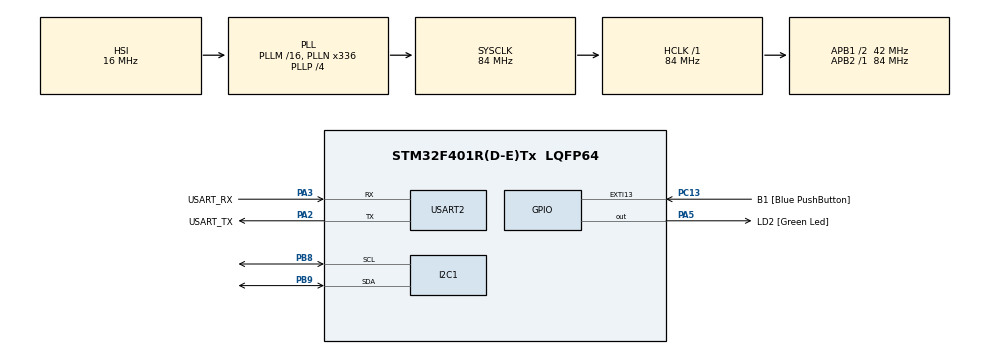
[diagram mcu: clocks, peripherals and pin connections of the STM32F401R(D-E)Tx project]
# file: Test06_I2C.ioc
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I2C1.I2C_Mode=I2C_Standard
Mcu.Family=STM32F4
Mcu.Name=STM32F401R(D-E)Tx
Mcu.Package=LQFP64
NVIC.I2C1_ER_IRQn=true\:0\:0\:false\:false\:true
NVIC.I2C1_EV_IRQn=true\:0\:0\:false\:false\:true
NVIC.PriorityGroup=NVIC_PRIORITYGROUP_0
PA13.GPIO_Label=TMS
PA13.Signal=SYS_JTMS-SWDIO
PA14.GPIO_Label=TCK
PA14.Signal=SYS_JTCK-SWCLK
PA2.GPIO_Label=USART_TX
PA2.GPIO_Mode=GPIO_MODE_AF_PP
PA2.GPIO_PuPd=GPIO_NOPULL
PA2.GPIO_Speed=GPIO_SPEED_FREQ_LOW
PA2.Mode=Asynchronous
PA2.Signal=USART2_TX
PA3.GPIO_Label=USART_RX
PA3.GPIO_Mode=GPIO_MODE_AF_PP
PA3.GPIO_PuPd=GPIO_NOPULL
PA3.GPIO_Speed=GPIO_SPEED_FREQ_LOW
PA3.Mode=Asynchronous
PA3.Signal=USART2_RX
PA5.GPIO_Label=LD2 [Green Led]
PA5.GPIO_Mode=GPIO_MODE_OUTPUT_PP
PA5.GPIO_PuPd=GPIO_NOPULL
PA5.GPIO_Speed=GPIO_SPEED_FREQ_LOW
PA5.Signal=GPIO_Output
PB3.GPIO_Label=SWO
PB3.Signal=SYS_JTDO-SWO
PB8.Mode=I2C
PB8.Signal=I2C1_SCL
PB9.Mode=I2C
PB9.Signal=I2C1_SDA
PC13-ANTI_TAMP.GPIO_Label=B1 [Blue PushButton]
PC13-ANTI_TAMP.GPIO_ModeDefaultEXTI=GPIO_MODE_IT_FALLING
PC13-ANTI_TAMP.GPIO_PuPd=GPIO_NOPULL
PC13-ANTI_TAMP.Signal=GPXTI13
PC14-OSC32_IN.Signal=RCC_OSC32_IN
PC15-OSC32_OUT.Signal=RCC_OSC32_OUT
PH0\ -\ OSC_IN.Signal=RCC_OSC_IN
PH1\ -\ OSC_OUT.Signal=RCC_OSC_OUT
ProjectManager.HeapSize=0x200
ProjectManager.StackSize=0x400
ProjectManager.TargetToolchain=Makefile
RCC.AHBFreq_Value=84000000
RCC.APB1CLKDivider=RCC_HCLK_DIV2
RCC.APB1Freq_Value=42000000
RCC.APB1TimFreq_Value=84000000
RCC.APB2Freq_Value=84000000
RCC.APB2TimFreq_Value=84000000
RCC.CortexFreq_Value=84000000
RCC.HCLKFreq_Value=84000000
RCC.HSE_VALUE=8000000
RCC.HSI_VALUE=16000000
RCC.LSE_VALUE=32768
RCC.PLLN=336
RCC.PLLP=RCC_PLLP_DIV4
RCC.PLLQ=7
RCC.SYSCLKFreq_VALUE=84000000
RCC.SYSCLKSource=RCC_SYSCLKSOURCE_PLLCLK
RCC.VCOOutputFreq_Value=336000000
USART2.VirtualMode=VM_ASYNC
board=NUCLEO-F401RE

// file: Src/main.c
/**
  ******************************************************************************
  * File Name          : main.c
  * Description        : Main program body
  ******************************************************************************
  ** This notice applies to any and all portions of this file
  * that are not between comment pairs USER CODE BEGIN and
  * USER CODE END. Other portions of this file, whether
  * inserted by the user or by software development tools
  * are owned by their respective copyright owners.
  *
  * COPYRIGHT(c) 2017 STMicroelectronics
  *
  * Redistribution and use in source and binary forms, with or without modification,
  * are permitted provided that the following conditions are met:
  *   1. Redistributions of source code must retain the above copyright notice,
  *      this list of conditions and the following disclaimer.
  *   2. Redistributions in binary form must reproduce the above copyright notice,
  *      this list of conditions and the following disclaimer in the documentation
  *      and/or other materials provided with the distribution.
  *   3. Neither the name of STMicroelectronics nor the names of its contributors
  *      may be used to endorse or promote products derived from this software
  *      without specific prior written permission.
  *
  * THIS SOFTWARE IS PROVIDED BY THE COPYRIGHT HOLDERS AND CONTRIBUTORS "AS IS"
  * AND ANY EXPRESS OR IMPLIED WARRANTIES, INCLUDING, BUT NOT LIMITED TO, THE
  * IMPLIED WARRANTIES OF MERCHANTABILITY AND FITNESS FOR A PARTICULAR PURPOSE ARE
  * DISCLAIMED. IN NO EVENT SHALL THE COPYRIGHT HOLDER OR CONTRIBUTORS BE LIABLE
  * FOR ANY DIRECT, INDIRECT, INCIDENTAL, SPECIAL, EXEMPLARY, OR CONSEQUENTIAL
  * DAMAGES (INCLUDING, BUT NOT LIMITED TO, PROCUREMENT OF SUBSTITUTE GOODS OR
  * SERVICES; LOSS OF USE, DATA, OR PROFITS; OR BUSINESS INTERRUPTION) HOWEVER
  * CAUSED AND ON ANY THEORY OF LIABILITY, WHETHER IN CONTRACT, STRICT LIABILITY,
  * OR TORT (INCLUDING NEGLIGENCE OR OTHERWISE) ARISING IN ANY WAY OUT OF THE USE
  * OF THIS SOFTWARE, EVEN IF ADVISED OF THE POSSIBILITY OF SUCH DAMAGE.
  *
  ******************************************************************************
  */
#include "main.h"
#include "stm32f4xx_hal.h"
#include "print.h"
#include "xprintf.h"

I2C_HandleTypeDef hi2c1;

UART_HandleTypeDef huart2;

/* USER CODE BEGIN PV */
/* Private variables ---------------------------------------------------------*/

/* USER CODE END PV */

void SystemClock_Config(void);
static void MX_GPIO_Init(void);
static void MX_I2C1_Init(void);
static void MX_USART2_UART_Init(void);

enum{
	WHO_AM_I=0x0f,
	CTRL1_XL=0x10,
	CTRL2_G=0x11,
	CTRL3_C=0x12,
	CTRL4_C=0x13,
	CTRL5_C=0x14,
	CTRL6_C=0x15,
	CTRL7_G=0x16,
	CTRL8_XL=0x17,
	CTRL9_XL=0x18,
	CTRL10_C=0x19,
	OUT_TEMP_L=0x20,
	OUT_TEMP_H=0x21,
	OUTX_L_G=0x22,
	OUTX_H_G=0x23,
	OUTY_L_G=0x24,
	OUTY_H_G=0x25,
	OUTZ_L_G=0x26,
	OUTZ_H_G=0x27,
	OUTX_L_XL=0x28,
	OUTX_H_XL=0x29,
	OUTY_L_XL=0x2A,
	OUTY_H_XL=0x2B,
	OUTZ_L_XL=0x2C,
	OUTZ_H_XL=0x2D
};
void USR_LSM6DSL_Set_Data(I2C_HandleTypeDef *hi2c,uint8_t add,uint8_t dat);
uint8_t USR_LSM6DSL_Get_Data(I2C_HandleTypeDef *hi2c,uint8_t add);
void USR_LSM6DSL_XL_Read_ALL(I2C_HandleTypeDef *hi2c,int16_t *dat);
void USR_LSM6DSL_GY_Read_ALL(I2C_HandleTypeDef *hi2c,int16_t *dat);
/* USER CODE BEGIN PFP */
/* Private function prototypes -----------------------------------------------*/
//if unuse semihosting, comment out "#define debug"
//#define debug
/* USER CODE END PFP */

void uart_putc_wrap(uint8_t c){
	uart_putc(&huart2,c);
}
int main(void)
{

  /* USER CODE BEGIN 1 */
	int i=0;
	uint8_t tmp=0;
	int16_t accdata[3]={0};
	int16_t gyrdata[3]={0};
	int16_t gyravg[3]={0};

	float angspdata[3]={0.0};

  /* USER CODE END 1 */

  /* MCU Configuration----------------------------------------------------------*/

  /* Reset of all peripherals, Initializes the Flash interface and the Systick. */
  HAL_Init();

  /* Configure the system clock */
  SystemClock_Config();

  /* USER CODE BEGIN SysInit */
	xdev_out(uart_putc_wrap);

  /* USER CODE END SysInit */

  /* Initialize all configured peripherals */
  MX_GPIO_Init();
  MX_I2C1_Init();
  MX_USART2_UART_Init();

  /* USER CODE BEGIN 2 */
//	xprintf("Hello,STM%d!\r\n",32);

	//LSM6DSL(ADD:0b1101011<<1)
//	HAL_I2C_Mem_Read(&hi2c1,0xD6,0x0f,I2C_MEMADD_SIZE_8BIT,&tmp,1,10);
	tmp=USR_LSM6DSL_Get_Data(&hi2c1,WHO_AM_I);
	USR_LSM6DSL_Set_Data(&hi2c1,CTRL1_XL,0b10000101);
	USR_LSM6DSL_Set_Data(&hi2c1,CTRL2_G,0b01100000);
	USR_LSM6DSL_Set_Data(&hi2c1,CTRL4_C,0b00000010);
	USR_LSM6DSL_Set_Data(&hi2c1,CTRL6_C,0b00000010);
	USR_LSM6DSL_Set_Data(&hi2c1,CTRL7_G,0b00000000);
	HAL_Delay(1000);

	for(i=0;i<10;i++){
		USR_LSM6DSL_GY_Read_ALL(&hi2c1,gyrdata);
		gyravg[0]+=gyrdata[0];
		gyravg[1]+=gyrdata[1];
		gyravg[2]+=gyrdata[2];
	}
	gyravg[0]/=10;
	gyravg[1]/=10;
	gyravg[2]/=10;

  /* USER CODE END 2 */

  /* Infinite loop */
  /* USER CODE BEGIN WHILE */
  while (1)
  {
		USR_LSM6DSL_XL_Read_ALL(&hi2c1,accdata);
		USR_LSM6DSL_GY_Read_ALL(&hi2c1,gyrdata);
		if(!HAL_GPIO_ReadPin(B1_GPIO_Port,B1_Pin)){
			for(i=0;i<10;i++){
					USR_LSM6DSL_GY_Read_ALL(&hi2c1,gyrdata);
					gyravg[0]+=gyrdata[0];
					gyravg[1]+=gyrdata[1];
					gyravg[2]+=gyrdata[2];
				}
			gyravg[0]/=10;
			gyravg[1]/=10;
			gyravg[2]/=10;
		}
		//gyro->angle speed
		angspdata[0]+=((float)(gyrdata[0]-gyravg[0]))*0.001/245.0;
		angspdata[1]+=((float)(gyrdata[1]-gyravg[1]))*0.001/245.0;
		angspdata[2]+=((float)(gyrdata[2]-gyravg[2]))*0.001/245.0;

	/* USER CODE END WHILE */

  /* USER CODE BEGIN 3 */
		xprintf("%d %d %d "
				,(int16_t)(angspdata[0])
				,(int16_t)(angspdata[1])
				,(int16_t)(angspdata[2]));
//		xprintf("%d %d %d ",gyrdata[0],gyrdata[1],gyrdata[2]);
//		xprintf("%d %d %d "
//			,gyrdata[0]-gyravg[0]
//			,gyrdata[1]-gyravg[1]
//			,gyrdata[2]-gyravg[2]);
//		xprintf("%d %d %d ",accdata[0],accdata[1],accdata[2]);
		xprintf("\n");
		HAL_GPIO_TogglePin(LD2_GPIO_Port,LD2_Pin);
		HAL_Delay(1);
	}
  /* USER CODE END 3 */

}

/** System Clock Configuration
*/
void SystemClock_Config(void)
{

  RCC_OscInitTypeDef RCC_OscInitStruct;
  RCC_ClkInitTypeDef RCC_ClkInitStruct;

    /**Configure the main internal regulator output voltage
    */
  __HAL_RCC_PWR_CLK_ENABLE();

  __HAL_PWR_VOLTAGESCALING_CONFIG(PWR_REGULATOR_VOLTAGE_SCALE2);

    /**Initializes the CPU, AHB and APB busses clocks
    */
  RCC_OscInitStruct.OscillatorType = RCC_OSCILLATORTYPE_HSI;
  RCC_OscInitStruct.HSIState = RCC_HSI_ON;
  RCC_OscInitStruct.HSICalibrationValue = 16;
  RCC_OscInitStruct.PLL.PLLState = RCC_PLL_ON;
  RCC_OscInitStruct.PLL.PLLSource = RCC_PLLSOURCE_HSI;
  RCC_OscInitStruct.PLL.PLLM = 16;
  RCC_OscInitStruct.PLL.PLLN = 336;
  RCC_OscInitStruct.PLL.PLLP = RCC_PLLP_DIV4;
  RCC_OscInitStruct.PLL.PLLQ = 7;
  if (HAL_RCC_OscConfig(&RCC_OscInitStruct) != HAL_OK)
  {
    _Error_Handler(__FILE__, __LINE__);
  }

    /**Initializes the CPU, AHB and APB busses clocks
    */
  RCC_ClkInitStruct.ClockType = RCC_CLOCKTYPE_HCLK|RCC_CLOCKTYPE_SYSCLK
                              |RCC_CLOCKTYPE_PCLK1|RCC_CLOCKTYPE_PCLK2;
  RCC_ClkInitStruct.SYSCLKSource = RCC_SYSCLKSOURCE_PLLCLK;
  RCC_ClkInitStruct.AHBCLKDivider = RCC_SYSCLK_DIV1;
  RCC_ClkInitStruct.APB1CLKDivider = RCC_HCLK_DIV2;
  RCC_ClkInitStruct.APB2CLKDivider = RCC_HCLK_DIV1;

  if (HAL_RCC_ClockConfig(&RCC_ClkInitStruct, FLASH_LATENCY_2) != HAL_OK)
  {
    _Error_Handler(__FILE__, __LINE__);
  }

    /**Configure the Systick interrupt time
    */
  HAL_SYSTICK_Config(HAL_RCC_GetHCLKFreq()/1000);

    /**Configure the Systick
    */
  HAL_SYSTICK_CLKSourceConfig(SYSTICK_CLKSOURCE_HCLK);

  /* SysTick_IRQn interrupt configuration */
  HAL_NVIC_SetPriority(SysTick_IRQn, 0, 0);
}

/* I2C1 init function */
static void MX_I2C1_Init(void)
{

  hi2c1.Instance = I2C1;
  hi2c1.Init.ClockSpeed = 100000;
  hi2c1.Init.DutyCycle = I2C_DUTYCYCLE_2;
  hi2c1.Init.OwnAddress1 = 0;
  hi2c1.Init.AddressingMode = I2C_ADDRESSINGMODE_7BIT;
  hi2c1.Init.DualAddressMode = I2C_DUALADDRESS_DISABLE;
  hi2c1.Init.OwnAddress2 = 0;
  hi2c1.Init.GeneralCallMode = I2C_GENERALCALL_DISABLE;
  hi2c1.Init.NoStretchMode = I2C_NOSTRETCH_DISABLE;
  if (HAL_I2C_Init(&hi2c1) != HAL_OK)
  {
    _Error_Handler(__FILE__, __LINE__);
  }

}

/* USART2 init function */
static void MX_USART2_UART_Init(void)
{

  huart2.Instance = USART2;
  huart2.Init.BaudRate = 115200;
  huart2.Init.WordLength = UART_WORDLENGTH_8B;
  huart2.Init.StopBits = UART_STOPBITS_1;
  huart2.Init.Parity = UART_PARITY_NONE;
  huart2.Init.Mode = UART_MODE_TX_RX;
  huart2.Init.HwFlowCtl = UART_HWCONTROL_NONE;
  huart2.Init.OverSampling = UART_OVERSAMPLING_16;
  if (HAL_UART_Init(&huart2) != HAL_OK)
  {
    _Error_Handler(__FILE__, __LINE__);
  }

}

/** Configure pins as
        * Analog
        * Input
        * Output
        * EVENT_OUT
        * EXTI
*/
static void MX_GPIO_Init(void)
{

  GPIO_InitTypeDef GPIO_InitStruct;

  /* GPIO Ports Clock Enable */
  __HAL_RCC_GPIOC_CLK_ENABLE();
  __HAL_RCC_GPIOH_CLK_ENABLE();
  __HAL_RCC_GPIOA_CLK_ENABLE();
  __HAL_RCC_GPIOB_CLK_ENABLE();

  /*Configure GPIO pin Output Level */
  HAL_GPIO_WritePin(LD2_GPIO_Port, LD2_Pin, GPIO_PIN_RESET);

  /*Configure GPIO pin : B1_Pin */
  GPIO_InitStruct.Pin = B1_Pin;
  GPIO_InitStruct.Mode = GPIO_MODE_IT_FALLING;
  GPIO_InitStruct.Pull = GPIO_NOPULL;
  HAL_GPIO_Init(B1_GPIO_Port, &GPIO_InitStruct);

  /*Configure GPIO pin : LD2_Pin */
  GPIO_InitStruct.Pin = LD2_Pin;
  GPIO_InitStruct.Mode = GPIO_MODE_OUTPUT_PP;
  GPIO_InitStruct.Pull = GPIO_NOPULL;
  GPIO_InitStruct.Speed = GPIO_SPEED_FREQ_LOW;
  HAL_GPIO_Init(LD2_GPIO_Port, &GPIO_InitStruct);

}

/* USER CODE BEGIN 4 */
void USR_LSM6DSL_Set_Data(I2C_HandleTypeDef *hi2c,uint8_t add,uint8_t dat){
	HAL_I2C_Mem_Write(hi2c,0xD6,add,I2C_MEMADD_SIZE_8BIT,&dat,1,10);
}
uint8_t USR_LSM6DSL_Get_Data(I2C_HandleTypeDef *hi2c,uint8_t add){
	uint8_t tmp=0;
	HAL_I2C_Mem_Read(&hi2c1,0xD6,add,I2C_MEMADD_SIZE_8BIT,&tmp,1,10);
	return tmp;
}
void USR_LSM6DSL_XL_Read_ALL(I2C_HandleTypeDef *hi2c,int16_t *data){
	data[0] =USR_LSM6DSL_Get_Data(hi2c,OUTX_L_XL);
	data[0]|=USR_LSM6DSL_Get_Data(hi2c,OUTX_H_XL)<<8;
	data[1] =USR_LSM6DSL_Get_Data(hi2c,OUTY_L_XL);
	data[1]|=USR_LSM6DSL_Get_Data(hi2c,OUTY_H_XL)<<8;
	data[2] =USR_LSM6DSL_Get_Data(hi2c,OUTZ_L_XL);
	data[2]|=USR_LSM6DSL_Get_Data(hi2c,OUTZ_H_XL)<<8;
}
void USR_LSM6DSL_GY_Read_ALL(I2C_HandleTypeDef *hi2c,int16_t *data){
	data[0] =USR_LSM6DSL_Get_Data(hi2c,OUTX_L_G);
	data[0]|=USR_LSM6DSL_Get_Data(hi2c,OUTX_H_G)<<8;
	data[1] =USR_LSM6DSL_Get_Data(hi2c,OUTY_L_G);
	data[1]|=USR_LSM6DSL_Get_Data(hi2c,OUTY_H_G)<<8;
	data[2] =USR_LSM6DSL_Get_Data(hi2c,OUTZ_L_G);
	data[2]|=USR_LSM6DSL_Get_Data(hi2c,OUTZ_H_G)<<8;
}
/* USER CODE END 4 */

void _Error_Handler(char * file, int line)
{
  while(1)
  {
  }
}

/************************ (C) COPYRIGHT STMicroelectronics *****END OF FILE****/
